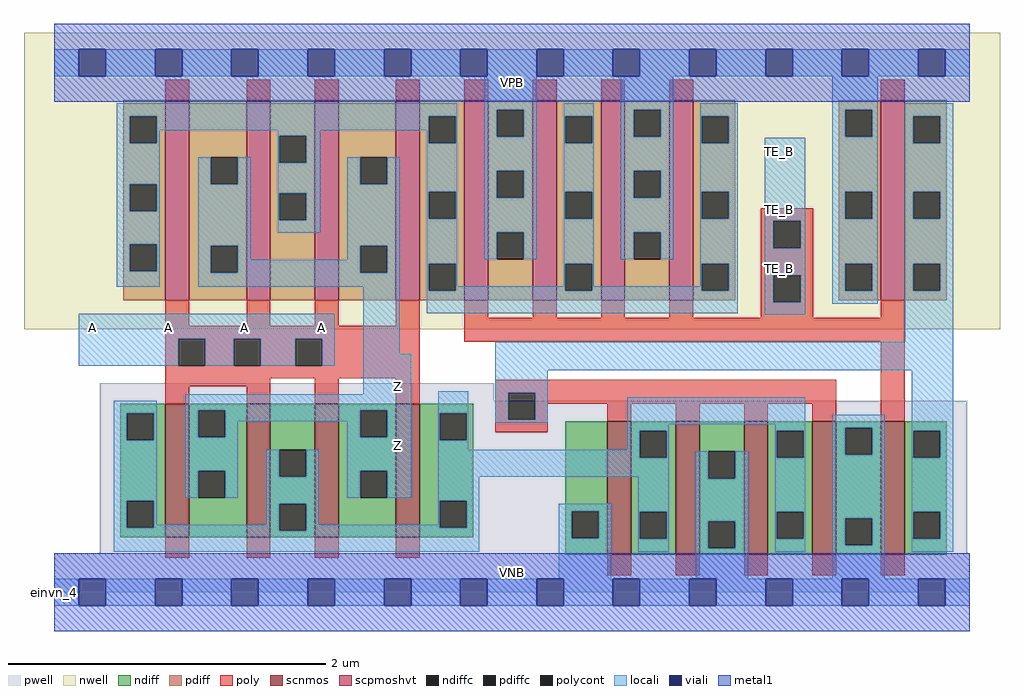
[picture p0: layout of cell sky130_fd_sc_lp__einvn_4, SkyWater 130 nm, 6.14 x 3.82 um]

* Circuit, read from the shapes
.subckt sky130_fd_sc_lp__einvn_4 A TE_B VGND VNB VPB VPWR Z
XM1 Z A n1 VNB sky130_fd_pr__nfet_01v8 w=0.84 l=0.15 m=4
XM2 n1 n2 VGND VNB sky130_fd_pr__nfet_01v8 w=0.84 l=0.15 m=4
XM3 n2 TE_B VGND VNB sky130_fd_pr__nfet_01v8 w=0.84 l=0.15
XM4 Z A n3 VPB sky130_fd_pr__pfet_01v8_hvt w=1.26 l=0.15 m=4
XM5 VPWR TE_B n3 VPB sky130_fd_pr__pfet_01v8_hvt w=1.26 l=0.15 m=4
XM6 n2 TE_B VPWR VPB sky130_fd_pr__pfet_01v8_hvt w=1.26 l=0.15
.ends

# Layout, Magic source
magic
tech sky130A
magscale 1 2
<< nwell >>
rect -38 331 1190 704
<< pwell >>
rect 57 241 553 263
rect 57 49 1149 241
rect 0 0 1152 49
<< scnmos >>
rect 140 69 170 237
rect 242 69 272 237
rect 328 69 358 237
rect 430 69 460 237
rect 696 47 726 215
rect 782 47 812 215
rect 868 47 898 215
rect 954 47 984 215
rect 1040 47 1070 215
<< scpmoshvt >>
rect 140 367 170 619
rect 242 367 272 619
rect 328 367 358 619
rect 430 367 460 619
rect 516 367 546 619
rect 602 367 632 619
rect 688 367 718 619
rect 774 367 804 619
rect 1040 367 1070 619
<< ndiff >>
rect 83 225 140 237
rect 83 191 91 225
rect 125 191 140 225
rect 83 115 140 191
rect 83 81 91 115
rect 125 81 140 115
rect 83 69 140 81
rect 170 229 242 237
rect 170 195 181 229
rect 215 195 242 229
rect 170 153 242 195
rect 170 119 181 153
rect 215 119 242 153
rect 170 69 242 119
rect 272 179 328 237
rect 272 145 283 179
rect 317 145 328 179
rect 272 111 328 145
rect 272 77 283 111
rect 317 77 328 111
rect 272 69 328 77
rect 358 229 430 237
rect 358 195 385 229
rect 419 195 430 229
rect 358 153 430 195
rect 358 119 385 153
rect 419 119 430 153
rect 358 69 430 119
rect 460 225 527 237
rect 460 191 485 225
rect 519 191 527 225
rect 460 115 527 191
rect 460 81 485 115
rect 519 81 527 115
rect 460 69 527 81
rect 643 102 696 215
rect 643 68 651 102
rect 685 68 696 102
rect 643 47 696 68
rect 726 203 782 215
rect 726 169 737 203
rect 771 169 782 203
rect 726 101 782 169
rect 726 67 737 101
rect 771 67 782 101
rect 726 47 782 67
rect 812 177 868 215
rect 812 143 823 177
rect 857 143 868 177
rect 812 89 868 143
rect 812 55 823 89
rect 857 55 868 89
rect 812 47 868 55
rect 898 203 954 215
rect 898 169 909 203
rect 943 169 954 203
rect 898 101 954 169
rect 898 67 909 101
rect 943 67 954 101
rect 898 47 954 67
rect 984 207 1040 215
rect 984 173 995 207
rect 1029 173 1040 207
rect 984 93 1040 173
rect 984 59 995 93
rect 1029 59 1040 93
rect 984 47 1040 59
rect 1070 203 1123 215
rect 1070 169 1081 203
rect 1115 169 1123 203
rect 1070 101 1123 169
rect 1070 67 1081 101
rect 1115 67 1123 101
rect 1070 47 1123 67
<< pdiff >>
rect 87 599 140 619
rect 87 565 95 599
rect 129 565 140 599
rect 87 513 140 565
rect 87 479 95 513
rect 129 479 140 513
rect 87 438 140 479
rect 87 404 95 438
rect 129 404 140 438
rect 87 367 140 404
rect 170 547 242 619
rect 170 513 197 547
rect 231 513 242 547
rect 170 436 242 513
rect 170 402 197 436
rect 231 402 242 436
rect 170 367 242 402
rect 272 574 328 619
rect 272 540 283 574
rect 317 540 328 574
rect 272 502 328 540
rect 272 468 283 502
rect 317 468 328 502
rect 272 367 328 468
rect 358 547 430 619
rect 358 513 385 547
rect 419 513 430 547
rect 358 436 430 513
rect 358 402 385 436
rect 419 402 430 436
rect 358 367 430 402
rect 460 599 516 619
rect 460 565 471 599
rect 505 565 516 599
rect 460 504 516 565
rect 460 470 471 504
rect 505 470 516 504
rect 460 413 516 470
rect 460 379 471 413
rect 505 379 516 413
rect 460 367 516 379
rect 546 607 602 619
rect 546 573 557 607
rect 591 573 602 607
rect 546 530 602 573
rect 546 496 557 530
rect 591 496 602 530
rect 546 453 602 496
rect 546 419 557 453
rect 591 419 602 453
rect 546 367 602 419
rect 632 599 688 619
rect 632 565 643 599
rect 677 565 688 599
rect 632 504 688 565
rect 632 470 643 504
rect 677 470 688 504
rect 632 413 688 470
rect 632 379 643 413
rect 677 379 688 413
rect 632 367 688 379
rect 718 607 774 619
rect 718 573 729 607
rect 763 573 774 607
rect 718 530 774 573
rect 718 496 729 530
rect 763 496 774 530
rect 718 453 774 496
rect 718 419 729 453
rect 763 419 774 453
rect 718 367 774 419
rect 804 599 857 619
rect 804 565 815 599
rect 849 565 857 599
rect 804 504 857 565
rect 804 470 815 504
rect 849 470 857 504
rect 987 607 1040 619
rect 987 573 995 607
rect 1029 573 1040 607
rect 987 504 1040 573
rect 804 413 857 470
rect 804 379 815 413
rect 849 379 857 413
rect 804 367 857 379
rect 987 470 995 504
rect 1029 470 1040 504
rect 987 413 1040 470
rect 987 379 995 413
rect 1029 379 1040 413
rect 987 367 1040 379
rect 1070 599 1123 619
rect 1070 565 1081 599
rect 1115 565 1123 599
rect 1070 504 1123 565
rect 1070 470 1081 504
rect 1115 470 1123 504
rect 1070 413 1123 470
rect 1070 379 1081 413
rect 1115 379 1123 413
rect 1070 367 1123 379
<< ndiffc >>
rect 91 191 125 225
rect 91 81 125 115
rect 181 195 215 229
rect 181 119 215 153
rect 283 145 317 179
rect 283 77 317 111
rect 385 195 419 229
rect 385 119 419 153
rect 485 191 519 225
rect 485 81 519 115
rect 651 68 685 102
rect 737 169 771 203
rect 737 67 771 101
rect 823 143 857 177
rect 823 55 857 89
rect 909 169 943 203
rect 909 67 943 101
rect 995 173 1029 207
rect 995 59 1029 93
rect 1081 169 1115 203
rect 1081 67 1115 101
<< pdiffc >>
rect 95 565 129 599
rect 95 479 129 513
rect 95 404 129 438
rect 197 513 231 547
rect 197 402 231 436
rect 283 540 317 574
rect 283 468 317 502
rect 385 513 419 547
rect 385 402 419 436
rect 471 565 505 599
rect 471 470 505 504
rect 471 379 505 413
rect 557 573 591 607
rect 557 496 591 530
rect 557 419 591 453
rect 643 565 677 599
rect 643 470 677 504
rect 643 379 677 413
rect 729 573 763 607
rect 729 496 763 530
rect 729 419 763 453
rect 815 565 849 599
rect 815 470 849 504
rect 995 573 1029 607
rect 815 379 849 413
rect 995 470 1029 504
rect 995 379 1029 413
rect 1081 565 1115 599
rect 1081 470 1115 504
rect 1081 379 1115 413
<< poly >>
rect 140 619 170 645
rect 242 619 272 645
rect 328 619 358 645
rect 430 619 460 645
rect 516 619 546 645
rect 602 619 632 645
rect 688 619 718 645
rect 774 619 804 645
rect 1040 619 1070 645
rect 889 467 955 483
rect 889 433 905 467
rect 939 433 955 467
rect 889 399 955 433
rect 140 335 170 367
rect 242 335 272 367
rect 328 335 358 367
rect 430 335 460 367
rect 140 319 460 335
rect 140 285 156 319
rect 190 285 226 319
rect 260 285 303 319
rect 337 285 460 319
rect 516 345 546 367
rect 602 345 632 367
rect 688 345 718 367
rect 774 345 804 367
rect 889 365 905 399
rect 939 365 955 399
rect 889 345 955 365
rect 1040 345 1070 367
rect 516 315 1070 345
rect 140 269 460 285
rect 140 259 272 269
rect 140 237 170 259
rect 242 237 272 259
rect 328 237 358 269
rect 430 237 460 269
rect 555 251 984 267
rect 555 217 571 251
rect 605 237 984 251
rect 605 217 621 237
rect 555 201 621 217
rect 696 215 726 237
rect 782 215 812 237
rect 868 215 898 237
rect 954 215 984 237
rect 1040 215 1070 315
rect 140 43 170 69
rect 242 43 272 69
rect 328 43 358 69
rect 430 43 460 69
rect 696 21 726 47
rect 782 21 812 47
rect 868 21 898 47
rect 954 21 984 47
rect 1040 21 1070 47
<< polycont >>
rect 905 433 939 467
rect 156 285 190 319
rect 226 285 260 319
rect 303 285 337 319
rect 905 365 939 399
rect 571 217 605 251
<< locali >>
rect 0 649 31 683
rect 65 649 127 683
rect 161 649 223 683
rect 257 649 319 683
rect 353 649 415 683
rect 449 649 511 683
rect 545 649 607 683
rect 641 649 703 683
rect 737 649 799 683
rect 833 649 895 683
rect 929 649 991 683
rect 1025 649 1087 683
rect 1121 649 1152 683
rect 79 599 507 615
rect 79 565 95 599
rect 129 581 471 599
rect 129 565 133 581
rect 79 513 133 565
rect 281 574 335 581
rect 79 479 95 513
rect 129 479 133 513
rect 79 438 133 479
rect 79 404 95 438
rect 129 404 133 438
rect 79 384 133 404
rect 181 513 197 547
rect 231 513 247 547
rect 181 436 247 513
rect 281 540 283 574
rect 317 540 335 574
rect 469 565 471 581
rect 505 565 507 599
rect 281 502 335 540
rect 281 468 283 502
rect 317 468 335 502
rect 281 452 335 468
rect 369 513 385 547
rect 419 513 435 547
rect 181 402 197 436
rect 231 418 247 436
rect 369 436 435 513
rect 369 418 385 436
rect 231 402 385 418
rect 419 402 435 436
rect 181 384 435 402
rect 31 319 353 350
rect 31 285 156 319
rect 190 285 226 319
rect 260 285 303 319
rect 337 285 353 319
rect 389 300 435 384
rect 469 504 507 565
rect 469 470 471 504
rect 505 470 507 504
rect 469 413 507 470
rect 541 607 607 649
rect 541 573 557 607
rect 591 573 607 607
rect 541 530 607 573
rect 541 496 557 530
rect 591 496 607 530
rect 541 453 607 496
rect 541 419 557 453
rect 591 419 607 453
rect 641 599 679 615
rect 641 565 643 599
rect 677 565 679 599
rect 641 504 679 565
rect 641 470 643 504
rect 677 470 679 504
rect 469 379 471 413
rect 505 385 507 413
rect 641 413 679 470
rect 713 607 779 649
rect 713 573 729 607
rect 763 573 779 607
rect 713 530 779 573
rect 713 496 729 530
rect 763 496 779 530
rect 713 453 779 496
rect 713 419 729 453
rect 763 419 779 453
rect 813 599 860 615
rect 813 565 815 599
rect 849 565 860 599
rect 979 607 1036 649
rect 979 573 995 607
rect 1029 573 1036 607
rect 813 504 860 565
rect 813 470 815 504
rect 849 470 860 504
rect 641 385 643 413
rect 505 379 643 385
rect 677 385 679 413
rect 813 413 860 470
rect 813 385 815 413
rect 677 379 815 385
rect 849 379 860 413
rect 469 351 860 379
rect 894 467 945 572
rect 894 433 905 467
rect 939 433 945 467
rect 894 399 945 433
rect 894 365 905 399
rect 939 365 945 399
rect 894 349 945 365
rect 979 504 1036 573
rect 979 470 995 504
rect 1029 470 1036 504
rect 979 413 1036 470
rect 979 379 995 413
rect 1029 379 1036 413
rect 979 363 1036 379
rect 1070 599 1131 615
rect 1070 565 1081 599
rect 1115 565 1131 599
rect 1070 504 1131 565
rect 1070 470 1081 504
rect 1115 470 1131 504
rect 1070 413 1131 470
rect 1070 379 1081 413
rect 1115 379 1131 413
rect 1070 315 1131 379
rect 389 249 449 300
rect 555 279 1131 315
rect 75 225 129 241
rect 75 191 91 225
rect 125 191 129 225
rect 75 115 129 191
rect 165 229 449 249
rect 165 195 181 229
rect 215 215 385 229
rect 215 195 231 215
rect 165 153 231 195
rect 369 195 385 215
rect 419 195 449 229
rect 165 119 181 153
rect 215 119 231 153
rect 267 145 283 179
rect 317 145 333 179
rect 75 81 91 115
rect 125 85 129 115
rect 267 111 333 145
rect 369 153 449 195
rect 369 119 385 153
rect 419 119 449 153
rect 483 225 521 253
rect 483 191 485 225
rect 519 191 521 225
rect 555 251 621 279
rect 555 217 571 251
rect 605 217 621 251
rect 555 213 621 217
rect 483 179 521 191
rect 721 211 945 245
rect 721 203 773 211
rect 721 179 737 203
rect 483 169 737 179
rect 771 169 773 203
rect 907 203 945 211
rect 483 145 773 169
rect 267 85 283 111
rect 125 81 283 85
rect 75 77 283 81
rect 317 85 333 111
rect 483 115 535 145
rect 483 85 485 115
rect 317 81 485 85
rect 519 81 535 115
rect 317 77 535 81
rect 75 51 535 77
rect 635 102 701 111
rect 635 68 651 102
rect 685 68 701 102
rect 635 17 701 68
rect 735 101 773 145
rect 735 67 737 101
rect 771 67 773 101
rect 735 51 773 67
rect 807 143 823 177
rect 857 143 873 177
rect 807 89 873 143
rect 807 55 823 89
rect 857 55 873 89
rect 807 17 873 55
rect 907 169 909 203
rect 943 169 945 203
rect 907 101 945 169
rect 907 67 909 101
rect 943 67 945 101
rect 907 51 945 67
rect 979 207 1045 223
rect 979 173 995 207
rect 1029 173 1045 207
rect 979 93 1045 173
rect 979 59 995 93
rect 1029 59 1045 93
rect 979 17 1045 59
rect 1079 203 1131 279
rect 1079 169 1081 203
rect 1115 169 1131 203
rect 1079 101 1131 169
rect 1079 67 1081 101
rect 1115 67 1131 101
rect 1079 51 1131 67
rect 0 -17 31 17
rect 65 -17 127 17
rect 161 -17 223 17
rect 257 -17 319 17
rect 353 -17 415 17
rect 449 -17 511 17
rect 545 -17 607 17
rect 641 -17 703 17
rect 737 -17 799 17
rect 833 -17 895 17
rect 929 -17 991 17
rect 1025 -17 1087 17
rect 1121 -17 1152 17
<< viali >>
rect 31 649 65 683
rect 127 649 161 683
rect 223 649 257 683
rect 319 649 353 683
rect 415 649 449 683
rect 511 649 545 683
rect 607 649 641 683
rect 703 649 737 683
rect 799 649 833 683
rect 895 649 929 683
rect 991 649 1025 683
rect 1087 649 1121 683
rect 31 -17 65 17
rect 127 -17 161 17
rect 223 -17 257 17
rect 319 -17 353 17
rect 415 -17 449 17
rect 511 -17 545 17
rect 607 -17 641 17
rect 703 -17 737 17
rect 799 -17 833 17
rect 895 -17 929 17
rect 991 -17 1025 17
rect 1087 -17 1121 17
<< metal1 >>
rect 0 683 1152 715
rect 0 649 31 683
rect 65 649 127 683
rect 161 649 223 683
rect 257 649 319 683
rect 353 649 415 683
rect 449 649 511 683
rect 545 649 607 683
rect 641 649 703 683
rect 737 649 799 683
rect 833 649 895 683
rect 929 649 991 683
rect 1025 649 1087 683
rect 1121 649 1152 683
rect 0 617 1152 649
rect 0 17 1152 49
rect 0 -17 31 17
rect 65 -17 127 17
rect 161 -17 223 17
rect 257 -17 319 17
rect 353 -17 415 17
rect 449 -17 511 17
rect 545 -17 607 17
rect 641 -17 703 17
rect 737 -17 799 17
rect 833 -17 895 17
rect 929 -17 991 17
rect 1025 -17 1087 17
rect 1121 -17 1152 17
rect 0 -49 1152 -17
<< labels >>
flabel pwell s 0 0 1152 49 0 FreeSans 200 0 0 0 VNB
port 4 nsew ground bidirectional
flabel nwell s 0 617 1152 666 0 FreeSans 200 0 0 0 VPB
port 5 nsew power bidirectional
rlabel comment s 0 0 0 0 4 einvn_4
flabel metal1 s 0 617 1152 666 0 FreeSans 340 0 0 0 VPWR
port 6 nsew power bidirectional
flabel metal1 s 0 0 1152 49 0 FreeSans 340 0 0 0 VGND
port 3 nsew ground bidirectional
flabel locali s 895 390 929 424 0 FreeSans 340 0 0 0 TE_B
port 2 nsew signal input
flabel locali s 895 464 929 498 0 FreeSans 340 0 0 0 TE_B
port 2 nsew signal input
flabel locali s 895 538 929 572 0 FreeSans 340 0 0 0 TE_B
port 2 nsew signal input
flabel locali s 415 168 449 202 0 FreeSans 340 0 0 0 Z
port 7 nsew signal output
flabel locali s 415 242 449 276 0 FreeSans 340 0 0 0 Z
port 7 nsew signal output
flabel locali s 31 316 65 350 0 FreeSans 340 0 0 0 A
port 1 nsew signal input
flabel locali s 127 316 161 350 0 FreeSans 340 0 0 0 A
port 1 nsew signal input
flabel locali s 223 316 257 350 0 FreeSans 340 0 0 0 A
port 1 nsew signal input
flabel locali s 319 316 353 350 0 FreeSans 340 0 0 0 A
port 1 nsew signal input
<< properties >>
string LEFsite unit
string LEFclass CORE
string FIXED_BBOX 0 0 1152 666
string GDS_FILE $PDKPATH/libs.ref/sky130_fd_sc_lp/gds/sky130_fd_sc_lp.gds
string LEFsymmetry X Y R90
string GDS_END 4223164
string GDS_START 4213354
<< end >>
